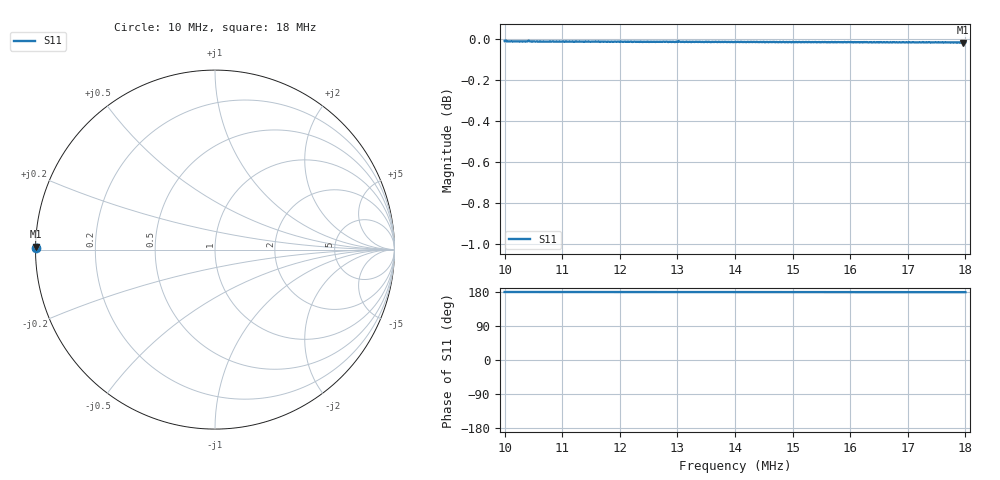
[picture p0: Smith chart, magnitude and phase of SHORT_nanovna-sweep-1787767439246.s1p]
! S11 from SHORT_nanovna-sweep-1787767439246.csv, converted by the rf-network-modeller history importer
# HZ S RI R 50
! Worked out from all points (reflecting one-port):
!   401 points, 10 MHz to 18 MHz, reference 50 ohm
!   lowest |S11| = 0.0 dB at 17.96 MHz (marker M1), VSWR 927.82, Z = 0.0539 + j0.418 ohm
!   phase of S11 starts at 179 deg and turns -0 deg over the sweep
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1e7  -0.9987 0.00924
1.012e7  -0.9986 0.00939
1.036e7  -0.9984 0.0096
1.038e7  -0.9985 0.00948
1.042e7  -0.9989 0.00955
1.046e7  -0.9985 0.0097
1.05e7  -0.9985 0.00957
1.1e7  -0.9984 0.0101
1.144e7  -0.9983 0.0105
1.154e7  -0.9983 0.0107
1.2e7  -0.9981 0.0111
1.254e7  -0.9983 0.0116
1.278e7  -0.9982 0.0119
1.292e7  -0.9983 0.0119
1.3e7  -0.9981 0.0122
1.306e7  -0.9982 0.0122
1.31e7  -0.9983 0.0121
1.4e7  -0.9982 0.013
1.468e7  -0.9981 0.0136
1.5e7  -0.9981 0.0138
1.562e7  -0.998 0.0144
1.576e7  -0.9979 0.0146
1.59e7  -0.9981 0.0147
1.6e7  -0.9979 0.0147
1.636e7  -0.998 0.0151
1.7e7  -0.9978 0.0158
1.796e7  -0.9977 0.0167
1.8e7  -0.9979 0.0168
